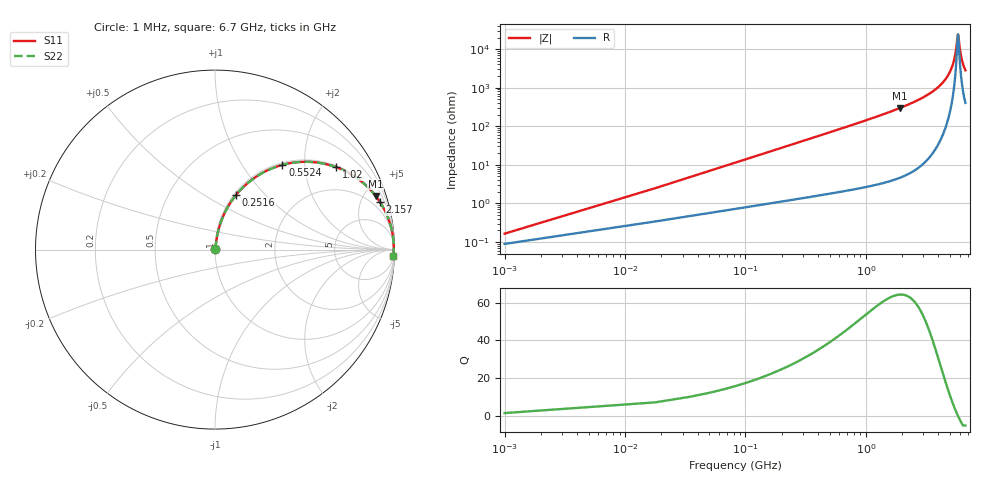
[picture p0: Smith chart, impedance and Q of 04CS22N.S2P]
! Coilcraft 0402CS-22N Chip Inductor
! 22 July 2002
# MHZ S MA R 50
!Freq  MagS11  AngS11  MagS21  AngS21  MagS12  AngS12  MagS22  AngS22
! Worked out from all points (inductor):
!   402 points, 1 MHz to 6.7 GHz, reference 50 ohm
!   read as one part in series: L = 22 nH near 34.42 MHz
!   highest Q = 64.3 at 1.923 GHz (marker M1), where L = 24.7 nH
!   self-resonance near 5.816 GHz
!   S11 on the Smith chart (normalised r, x): 1 MHz: 1.00, +0.00; 251.7 MHz: 1.03, +0.70; 552.4 MHz: 1.04, +1.54; 1.02 GHz: 1.05, +2.91; 2.157 GHz: 1.11, +6.91; 6.7 GHz: 9, -56
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1  0.001643 57.1  0.9991 -0.1  0.9991 -0.1  0.001643 57.1
51.13  0.07034 81.4  0.9919 -4.0  0.9919 -4.0  0.07034 81.4
67.84  0.093 80.7  0.9892 -5.3  0.9892 -5.3  0.093 80.7
134.68  0.1817 76.7  0.9744 -10.5  0.9744 -10.5  0.1817 76.7
251.65  0.3257 68.9  0.9338 -19.0  0.9338 -19.0  0.3257 68.9
385.33  0.4663 60.6  0.8712 -27.8  0.8712 -27.8  0.4663 60.6
552.43  0.6034 51.5  0.7828 -37.1  0.7828 -37.1  0.6034 51.5
1020.31  0.8172 34.2  0.5615 -54.8  0.5615 -54.8  0.8172 34.2
1120.57  0.8426 31.6  0.5237 -57.4  0.5237 -57.4  0.8426 31.6
1922.65  0.9437 18.4  0.3163 -70.7  0.3163 -70.7  0.9437 18.4
2156.59  0.9566 16.1  0.2768 -73.0  0.2768 -73.0  0.9566 16.1
2240.14  0.9603 15.3  0.2642 -73.8  0.2642 -73.8  0.9603 15.3
3359.71  0.9868 8.1  0.1417 -80.6  0.1417 -80.6  0.9868 8.1
4479.28  0.9946 3.8  0.06557 -83.4  0.06557 -83.4  0.9946 3.8
5181.1  0.9959 1.7  0.02911 -81.1  0.02911 -81.1  0.9959 1.7
5415.04  0.996 1.0  0.01831 -76.9  0.01831 -76.9  0.996 1.0
5598.85  0.996 0.6  0.01042 -67.1  0.01042 -67.1  0.996 0.6
5765.95  0.9959 0.1  0.004729 -29.7  0.004729 -29.7  0.9959 0.1
5832.79  0.9958 -0.0  0.004188 6.8  0.004188 6.8  0.9958 -0.0
6050.02  0.9956 -0.5  0.01049 64.9  0.01049 64.9  0.9956 -0.5
6200.41  0.9954 -0.9  0.01625 73.0  0.01625 73.0  0.9954 -0.9
6700  0.9944 -2.0  0.03519 79.8  0.03519 79.8  0.9944 -2.0
